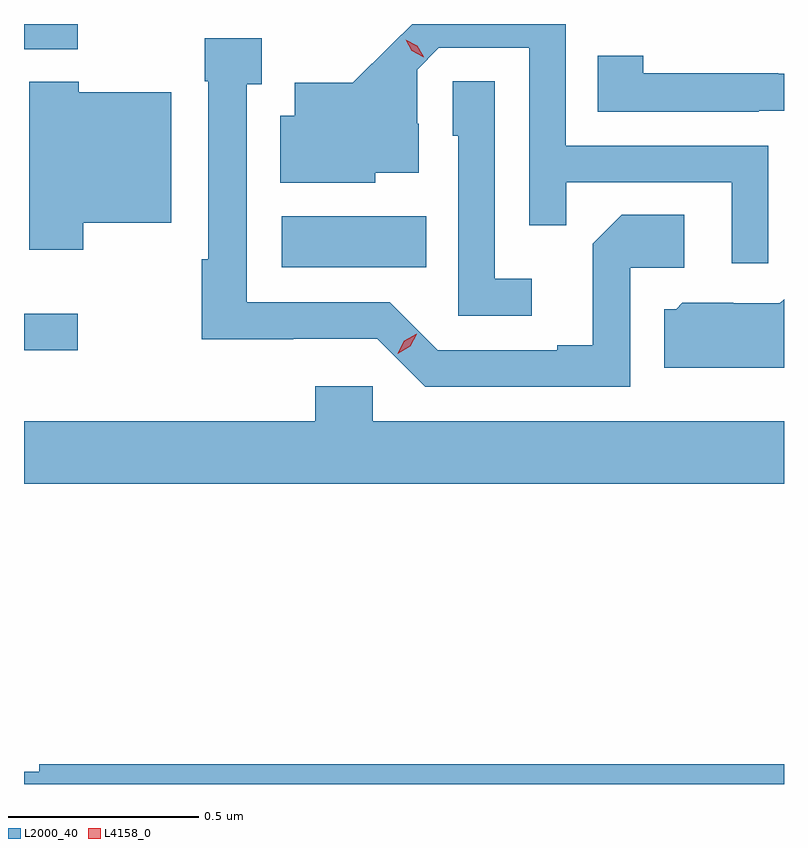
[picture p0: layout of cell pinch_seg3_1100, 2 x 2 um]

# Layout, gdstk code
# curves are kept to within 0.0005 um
import gdstk
lib = gdstk.Library(unit=1e-6, precision=1e-09)
def R(c, l, rs):  # rectangles x0, y0, x1, y1
    for r in rs: c.add(gdstk.rectangle(r[:2], r[2:], *l))
def P(c, l, *ps):  # polygons
    for p in ps: c.add(gdstk.Polygon(p, *l))
L2000_40 = (2000, 40)
L4158_0 = (4158, 0)

pinch_seg3_1100 = lib.new_cell('pinch_seg3_1100')
R(pinch_seg3_1100, L2000_40, [(324.066,670.632,324.208,670.728), (324.744,670.85,325.124,670.984), (324.066,671.423,324.207,671.49)])
P(pinch_seg3_1100, L2000_40, [(326.025,671.169),(325.491,671.169),(325.491,671.49),(325.088,671.49),(324.931,671.335),(324.779,671.335),(324.779,671.248),(324.74,671.248),(324.74,671.072),(324.99,671.072),(324.99,671.099),(325.105,671.099),(325.105,671.228),(325.101,671.228),(325.101,671.37),(325.158,671.427),(325.395,671.427),(325.395,670.96),(325.493,670.96),(325.493,671.073),(325.929,671.073),(325.929,670.86),(326.025,670.86)],
  [(325.662,670.848),(325.804,670.848),(325.804,670.988),(325.639,670.988),(325.563,670.912),(325.563,670.645),(325.469,670.645),(325.469,670.632),(325.155,670.632),(325.029,670.758),(324.652,670.758),(324.652,671.331),(324.691,671.331),(324.691,671.452),(324.541,671.452),(324.541,671.339),(324.551,671.339),(324.551,670.871),(324.534,670.871),(324.534,670.661),(324.774,670.661),(324.774,670.662),(324.996,670.662),(325.122,670.536),(325.662,670.536)],
  [(326,671.262),(326.066,671.262),(326.066,671.359),(326.051,671.359),(326.051,671.36),(325.695,671.36),(325.695,671.407),(325.576,671.407),(325.576,671.259),(326,671.259)],
  [(325.402,670.819),(325.305,670.819),(325.305,671.339),(325.194,671.339),(325.194,671.196),(325.209,671.196),(325.209,670.722),(325.402,670.722)],
  [(324.222,670.967),(324.454,670.967),(324.454,671.311),(324.21,671.311),(324.21,671.338),(324.08,671.338),(324.08,670.896),(324.222,670.896)],
  [(326.066,670.766),(326.055,670.755),(325.932,670.755),(325.932,670.756),(325.798,670.756),(325.782,670.74),(325.751,670.74),(325.751,670.586),(326.066,670.586)],
  [(326.066,670.444),(324.984,670.444),(324.984,670.537),(324.833,670.537),(324.833,670.444),(324.066,670.444),(324.066,670.28),(326.066,670.28)],
  [(326.066,669.542),(324.106,669.542),(324.106,669.522),(324.066,669.522),(324.066,669.49),(326.066,669.49)])
P(pinch_seg3_1100, L4158_0, [(325.118,671.403),(325.087,671.419),(325.07,671.448),(325.07,671.449),(325.07,671.449),(325.101,671.433),(325.118,671.404),(325.118,671.403)],
  [(325.05,670.622),(325.05,670.623),(325.067,670.656),(325.099,670.675),(325.099,670.675),(325.099,670.674),(325.082,670.642),(325.05,670.622)])

lib.write_gds('pinch_seg3_1100.gds')
